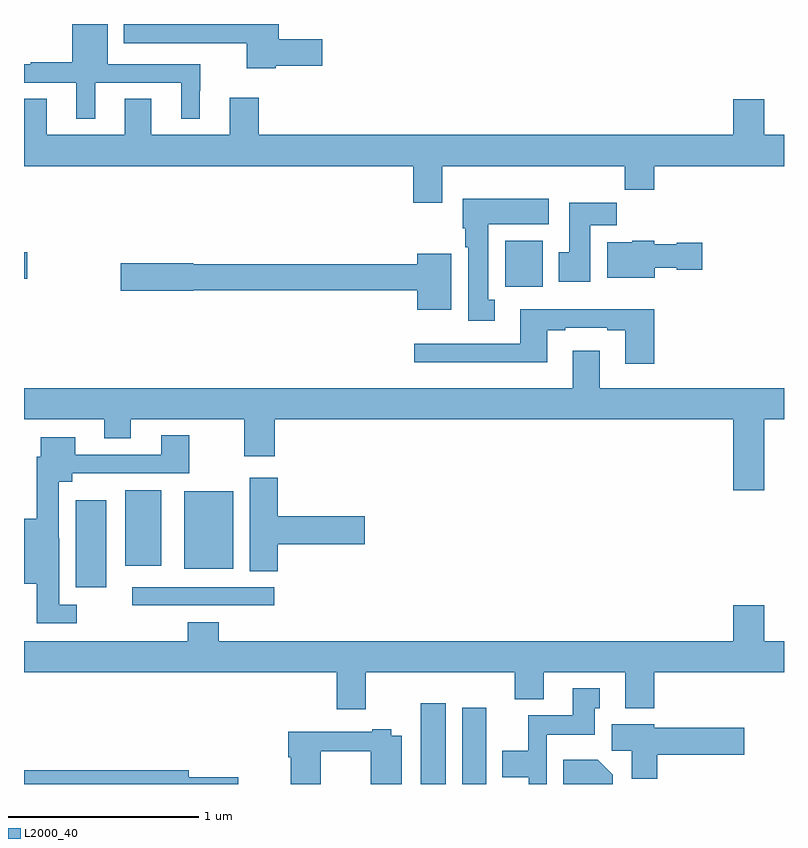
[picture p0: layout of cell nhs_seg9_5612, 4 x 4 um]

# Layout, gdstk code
import gdstk
lib = gdstk.Library(unit=1e-6, precision=1e-09)
def R(c, l, rs):  # rectangles x0, y0, x1, y1
    for r in rs: c.add(gdstk.rectangle(r[:2], r[2:], *l))
def P(c, l, *ps):  # polygons
    for p in ps: c.add(gdstk.Polygon(p, *l))
L2000_40 = (2000, 40)

nhs_seg9_5612 = lib.new_cell('nhs_seg9_5612')
R(nhs_seg9_5612, L2000_40, [(439.088,1194.5,439.219,1194.925), (439.307,1194.5,439.432,1194.901), (437.571,1195.44,438.316,1195.536), (437.273,1195.535,437.434,1195.993), (437.843,1195.634,438.1,1196.041), (437.534,1195.649,437.722,1196.047), (439.532,1197.116,439.729,1197.358), (437,1197.158,437.017,1197.3)])
P(nhs_seg9_5612, L2000_40, [(438.324,1198.279),(438.571,1198.279),(438.571,1198.421),(438.341,1198.421),(438.341,1198.5),(437.525,1198.5),(437.525,1198.4),(438.173,1198.4),(438.173,1198.268),(438.324,1198.268)],
  [(437.374,1198.191),(437.828,1198.191),(437.828,1198.001),(437.926,1198.001),(437.926,1198.148),(437.928,1198.148),(437.928,1198.287),(437.44,1198.287),(437.44,1198.5),(437.255,1198.5),(437.255,1198.3),(437.035,1198.3),(437.035,1198.287),(437,1198.287),(437,1198.191),(437.276,1198.191),(437.276,1198.001),(437.374,1198.001)],
  [(439.201,1197.752),(440.161,1197.752),(440.161,1197.628),(440.318,1197.628),(440.318,1197.752),(441,1197.752),(441,1197.916),(440.896,1197.916),(440.896,1198.105),(440.732,1198.105),(440.732,1197.916),(438.236,1197.916),(438.236,1198.111),(438.083,1198.111),(438.083,1197.916),(437.671,1197.916),(437.671,1198.106),(437.531,1198.106),(437.531,1197.916),(437.119,1197.916),(437.119,1198.106),(437,1198.106),(437,1197.752),(439.049,1197.752),(439.049,1197.558),(439.201,1197.558)],
  [(439.477,1197.05),(439.444,1197.05),(439.444,1197.446),(439.762,1197.446),(439.762,1197.58),(439.31,1197.58),(439.31,1197.426),(439.322,1197.426),(439.322,1197.326),(439.337,1197.326),(439.337,1196.937),(439.477,1196.937)],
  [(439.981,1197.44),(440.12,1197.44),(440.12,1197.559),(439.871,1197.559),(439.871,1197.3),(439.814,1197.3),(439.814,1197.144),(439.981,1197.144)],
  [(440.32,1197.218),(440.436,1197.218),(440.436,1197.206),(440.569,1197.206),(440.569,1197.348),(440.436,1197.348),(440.436,1197.34),(440.316,1197.34),(440.316,1197.358),(440.202,1197.358),(440.202,1197.352),(440.069,1197.352),(440.069,1197.164),(440.32,1197.164)],
  [(439.249,1197.292),(439.07,1197.292),(439.07,1197.236),(437.892,1197.236),(437.892,1197.242),(437.508,1197.242),(437.508,1197.095),(437.892,1197.095),(437.892,1197.1),(439.07,1197.1),(439.07,1196.996),(439.249,1196.996)],
  [(440.318,1196.998),(439.613,1196.998),(439.613,1196.817),(439.053,1196.817),(439.053,1196.72),(439.753,1196.72),(439.753,1196.889),(439.849,1196.889),(439.849,1196.901),(440.069,1196.901),(440.069,1196.889),(440.165,1196.889),(440.165,1196.712),(440.318,1196.712)],
  [(440.896,1196.42),(441,1196.42),(441,1196.584),(440.029,1196.584),(440.029,1196.779),(439.889,1196.779),(439.889,1196.584),(437,1196.584),(437,1196.42),(437.423,1196.42),(437.423,1196.321),(437.563,1196.321),(437.563,1196.42),(438.16,1196.42),(438.16,1196.226),(438.32,1196.226),(438.32,1196.42),(440.732,1196.42),(440.732,1196.046),(440.896,1196.046)],
  [(437.278,1195.444),(437.185,1195.444),(437.185,1195.793),(437.184,1195.793),(437.184,1196.09),(437.254,1196.09),(437.254,1196.136),(437.871,1196.136),(437.871,1196.335),(437.723,1196.335),(437.723,1196.232),(437.269,1196.232),(437.269,1196.326),(437.087,1196.326),(437.087,1196.222),(437.068,1196.222),(437.068,1195.897),(437,1195.897),(437,1195.553),(437.068,1195.553),(437.068,1195.347),(437.278,1195.347)],
  [(438.335,1195.763),(438.793,1195.763),(438.793,1195.91),(438.335,1195.91),(438.335,1196.113),(438.188,1196.113),(438.188,1195.621),(438.335,1195.621)],
  [(438.799,1195.088),(439.583,1195.088),(439.583,1194.947),(439.735,1194.947),(439.735,1195.088),(440.165,1195.088),(440.165,1194.899),(440.318,1194.899),(440.318,1195.088),(441,1195.088),(441,1195.252),(440.896,1195.252),(440.896,1195.441),(440.732,1195.441),(440.732,1195.252),(438.026,1195.252),(438.026,1195.351),(437.861,1195.351),(437.861,1195.252),(437,1195.252),(437,1195.088),(438.647,1195.088),(438.647,1194.894),(438.799,1194.894)],
  [(439.752,1194.758),(440.005,1194.758),(440.005,1194.9),(440.029,1194.9),(440.029,1195.003),(439.889,1195.003),(439.889,1194.862),(439.654,1194.862),(439.654,1194.676),(439.517,1194.676),(439.517,1194.536),(439.656,1194.536),(439.656,1194.5),(439.752,1194.5)],
  [(440.333,1194.653),(440.791,1194.653),(440.791,1194.795),(440.316,1194.795),(440.316,1194.814),(440.093,1194.814),(440.093,1194.676),(440.198,1194.676),(440.198,1194.528),(440.333,1194.528)],
  [(438.562,1194.673),(438.826,1194.673),(438.826,1194.5),(438.988,1194.5),(438.988,1194.754),(438.933,1194.754),(438.933,1194.787),(438.833,1194.787),(438.833,1194.774),(438.392,1194.774),(438.392,1194.641),(438.404,1194.641),(438.404,1194.5),(438.562,1194.5)],
  [(440.098,1194.55),(440.02,1194.628),(439.837,1194.628),(439.837,1194.5),(440.098,1194.5)],
  [(438.127,1194.536),(437.866,1194.536),(437.866,1194.572),(437,1194.572),(437,1194.5),(438.127,1194.5)])

lib.write_gds('nhs_seg9_5612.gds')
